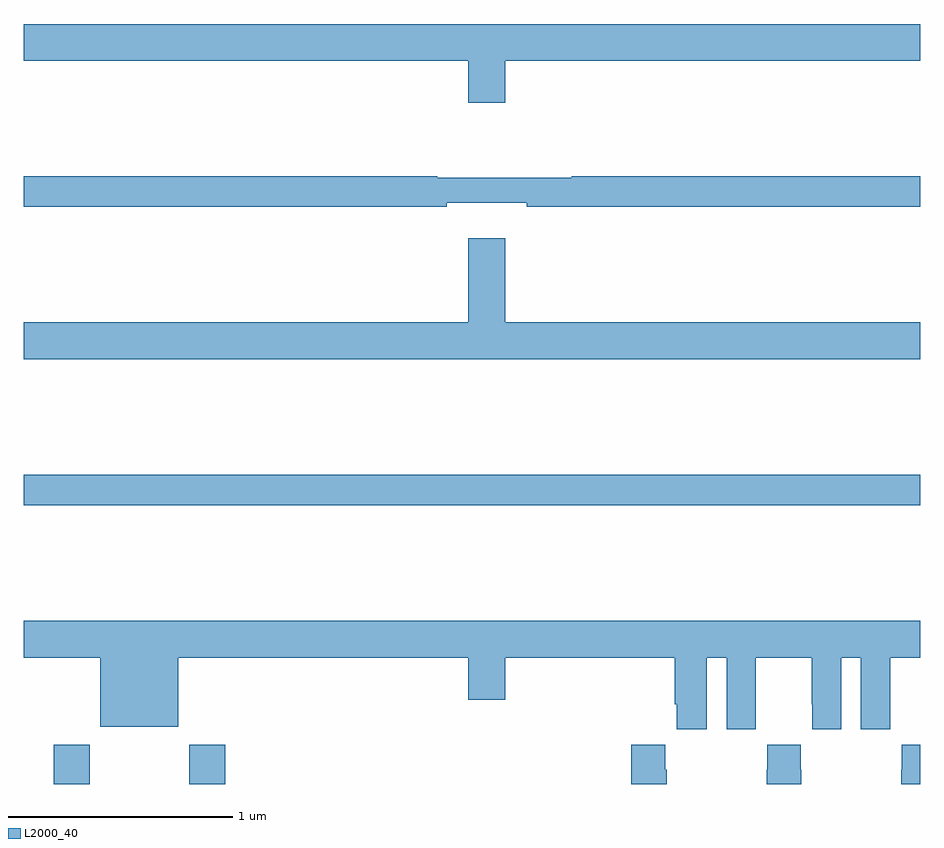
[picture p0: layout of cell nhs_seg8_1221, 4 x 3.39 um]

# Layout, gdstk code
import gdstk
lib = gdstk.Library(unit=1e-6, precision=1e-09)
def R(c, l, rs):  # rectangles x0, y0, x1, y1
    for r in rs: c.add(gdstk.rectangle(r[:2], r[2:], *l))
def P(c, l, *ps):  # polygons
    for p in ps: c.add(gdstk.Polygon(p, *l))
L2000_40 = (2000, 40)

nhs_seg8_1221 = lib.new_cell('nhs_seg8_1221')
R(nhs_seg8_1221, L2000_40, [(187.133,1151.9,187.293,1152.076), (187.738,1151.9,187.898,1152.076), (187,1153.144,191,1153.28)])
P(nhs_seg8_1221, L2000_40, [(189.148,1155.128),(191,1155.128),(191,1155.292),(187,1155.292),(187,1155.128),(188.984,1155.128),(188.984,1154.94),(189.148,1154.94)],
  [(188.888,1154.495),(189.244,1154.495),(189.244,1154.476),(191,1154.476),(191,1154.612),(189.445,1154.612),(189.445,1154.605),(188.845,1154.605),(188.845,1154.612),(187,1154.612),(187,1154.476),(188.888,1154.476)],
  [(191,1153.96),(189.148,1153.96),(189.148,1154.335),(188.984,1154.335),(188.984,1153.96),(187,1153.96),(187,1153.796),(191,1153.796)],
  [(190.048,1152.464),(190.136,1152.464),(190.136,1152.144),(190.266,1152.144),(190.266,1152.256),(190.267,1152.256),(190.267,1152.464),(190.517,1152.464),(190.517,1152.256),(190.518,1152.256),(190.518,1152.144),(190.648,1152.144),(190.648,1152.464),(190.736,1152.464),(190.736,1152.144),(190.866,1152.144),(190.866,1152.256),(190.867,1152.256),(190.867,1152.464),(191,1152.464),(191,1152.628),(187,1152.628),(187,1152.464),(187.34,1152.464),(187.34,1152.155),(187.69,1152.155),(187.69,1152.464),(188.984,1152.464),(188.984,1152.276),(189.148,1152.276),(189.148,1152.464),(189.905,1152.464),(189.905,1152.256),(189.914,1152.256),(189.914,1152.144),(190.048,1152.144)],
  [(189.87,1151.963),(189.863,1151.963),(189.863,1152.076),(189.71,1152.076),(189.71,1151.9),(189.87,1151.9)],
  [(190.47,1151.963),(190.467,1151.963),(190.467,1152.076),(190.317,1152.076),(190.317,1151.963),(190.315,1151.963),(190.315,1151.9),(190.47,1151.9)],
  [(191,1152.076),(190.917,1152.076),(190.917,1151.963),(190.915,1151.963),(190.915,1151.9),(191,1151.9)])

lib.write_gds('nhs_seg8_1221.gds')
